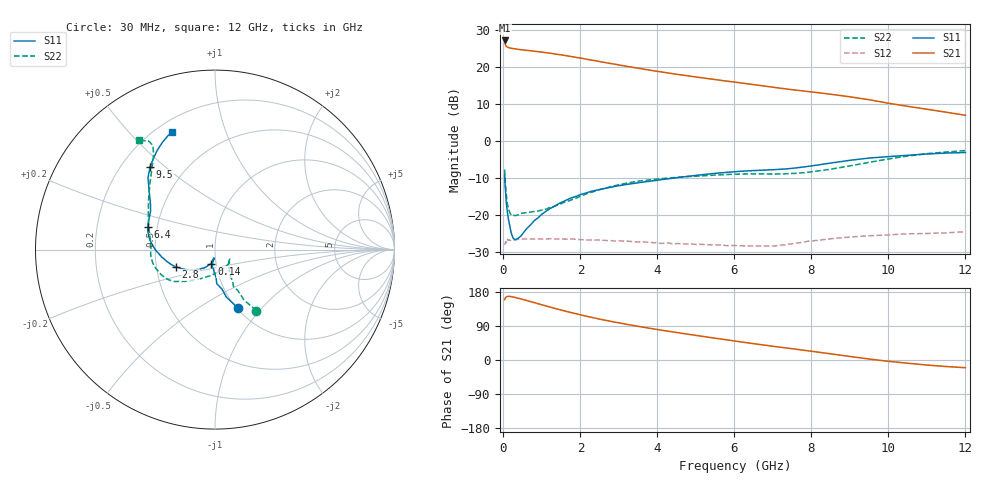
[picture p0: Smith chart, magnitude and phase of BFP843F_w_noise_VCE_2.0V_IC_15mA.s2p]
! Infineon Technologies  Discrete & RF Semiconductors
! BFP843F
! VCE =  2.0 V,  IC =  15 mA
! Common Emitter S-Parameters:  Aug 2013
# GHz  S  MA  R  50
!  f  S11  S21  S12  S22
! GHz  MAG  ANG  MAG  ANG  MAG  ANG  MAG  ANG
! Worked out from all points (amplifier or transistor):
!   103 points, 30 MHz to 12 GHz, reference 50 ohm
!   highest |S21| = 27.1 dB at 30 MHz (marker M1)
!   |S21| within 3 dB of that: start of sweep to 881.8 MHz
!   unconditionally stable (mu >= 1): 149.4 MHz to end of sweep
!   at 400 MHz: K = 1.01, MAG = 24.9 dB, |S12| = -26.6 dB
!   at 3.7 GHz: K = 1.19, MAG = 20.7 dB, |S12| = -27.3 dB
!   at 12 GHz: K = 1.24, MAG = 12.8 dB, |S12| = -24.5 dB
!   lowest NFmin = 0.84 dB at 450 MHz
!   S11 on the Smith chart (normalised r, x): 30 MHz: 1.01, -0.75; 140 MHz: 0.95, -0.15; 2.8 GHz: 0.63, -0.13; 6.4 GHz: 0.44, +0.13; 9.5 GHz: 0.32, +0.45; 12 GHz: 0.26, +0.67
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0.03  0.3481 -68.7  22.73 159.2  0.0398 27.0  0.4104 -55.9
0.04  0.2723 -76.5  21.05 160.8  0.0414 21.5  0.3231 -60.1
0.05  0.2231 -80.0  19.98 163.9  0.0415 16.5  0.2605 -60.9
0.07  0.153 -87.9  19.09 166.0  0.042 13.3  0.198 -60.3
0.11  0.1027 -96.7  18.45 167.8  0.0471 7.9  0.1344 -54.0
0.14  0.0827 -103.8  18.19 167.9  0.0455 7.8  0.1168 -47.8
0.25  0.0487 -99.1  17.67 166.3  0.0462 3.9  0.0993 -34.8
0.9  0.0917 -111.1  16.05 148.4  0.0476 0.5  0.113 -62.2
1.3  0.129 -125.8  15.05 137.1  0.0474 -0.2  0.1297 -86.4
1.7  0.1649 -136.1  13.96 126.5  0.0473 -1.0  0.155 -105.2
2.1  0.1951 -145.1  12.86 116.8  0.0462 -2.1  0.1875 -119.4
2.5  0.221 -152.2  11.8 107.9  0.0459 -2.9  0.2188 -128.6
2.8  0.2371 -156.1  11.06 101.9  0.045 -2.9  0.2432 -133.1
3.4  0.2672 -164.1  9.774 90.6  0.0435 -2.3  0.2807 -140.7
4.1  0.3002 -172.1  8.545 78.8  0.0412 -1.3  0.3094 -147.5
5.1  0.3466 176.4  7.183 63.4  0.0402 1.9  0.3356 -158.0
6.1  0.3872 165.2  6.136 48.8  0.0385 6.1  0.3555 -169.6
6.4  0.3952 161.1  5.848 44.5  0.0382 8.1  0.3592 -173.4
8.5  0.5026 137.1  4.27 16.3  0.0477 20.4  0.415 153.6
9.5  0.5871 128.0  3.596 2.6  0.0524 19.0  0.5136 135.0
10.5  0.6396 120.3  2.932 -8.5  0.0557 18.3  0.6251 123.2
12  0.6975 109.9  2.218 -20.3  0.0593 19.8  0.741 124.7
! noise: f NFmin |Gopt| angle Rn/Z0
0.45  0.84  0.02  165  0.04
0.9  0.84  0.02  143  0.05
1.5  0.88  0.03  139  0.05
1.9  0.92  0.05  146  0.05
2.4  0.96  0.06  153  0.08
3.5  1.02  0.09  167  0.13
5.5  1.12  0.17  -157  0.21
10  1.65  0.37  -108  0.31
